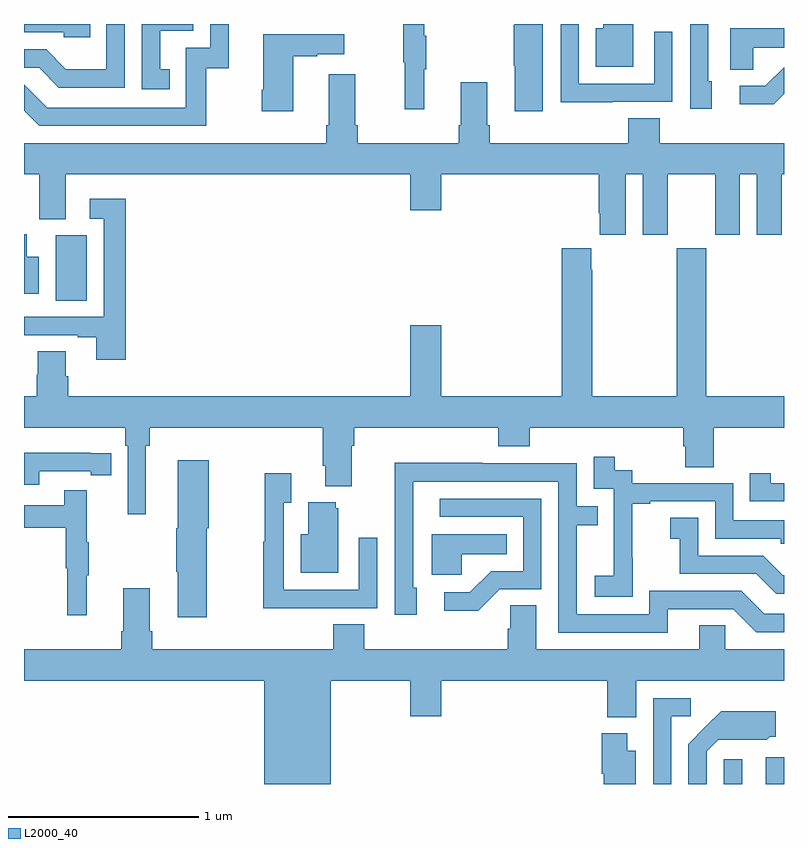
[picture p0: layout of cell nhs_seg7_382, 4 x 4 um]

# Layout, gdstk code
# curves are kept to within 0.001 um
import gdstk
lib = gdstk.Library(unit=1e-6, precision=1e-09)
def R(c, l, rs):  # rectangles x0, y0, x1, y1
    for r in rs: c.add(gdstk.rectangle(r[:2], r[2:], *l))
def P(c, l, *ps):  # polygons
    for p in ps: c.add(gdstk.Polygon(p, *l))
L2000_40 = (2000, 40)

nhs_seg7_382 = lib.new_cell('nhs_seg7_382')
R(nhs_seg7_382, L2000_40, [(142.683,1072,142.779,1072.129), (142.905,1072,143,1072.14), (139.166,1074.544,139.33,1074.888)])
P(nhs_seg7_382, L2000_40, [(139.53,1076),(139.434,1076),(139.434,1075.762),(139.22,1075.762),(139.116,1075.866),(139,1075.866),(139,1075.77),(139.079,1075.77),(139.184,1075.665),(139.53,1075.665)],
  [(141.107,1075.763),(141.118,1075.763),(141.118,1075.937),(141.107,1075.937),(141.107,1076),(140.997,1076),(140.997,1075.8),(141.004,1075.8),(141.004,1075.551),(141.107,1075.551)],
  [(142.621,1075.698),(142.602,1075.698),(142.602,1076),(142.506,1076),(142.506,1075.554),(142.621,1075.554)],
  [(139.349,1076),(139,1076),(139,1075.956),(139.209,1075.956),(139.209,1075.929),(139.349,1075.929)],
  [(142.207,1076),(142.049,1076),(142.049,1075.978),(142.01,1075.978),(142.01,1075.775),(142.207,1075.775)],
  [(142.097,1075.59),(142.413,1075.59),(142.413,1075.96),(142.317,1075.96),(142.317,1075.686),(141.921,1075.686),(141.921,1076),(141.825,1076),(141.825,1075.589),(142.097,1075.589)],
  [(139.766,1075.761),(139.717,1075.761),(139.717,1075.965),(139.89,1075.965),(139.89,1076),(139.62,1076),(139.62,1075.656),(139.766,1075.656)],
  [(141.73,1076),(141.584,1076),(141.584,1075.997),(141.577,1075.997),(141.577,1075.78),(141.584,1075.78),(141.584,1075.542),(141.73,1075.542)],
  [(139.96,1075.767),(140.078,1075.767),(140.078,1076),(139.98,1076),(139.98,1075.875),(139.851,1075.875),(139.851,1075.56),(139.122,1075.56),(139.002,1075.68),(139,1075.68),(139,1075.544),(139.08,1075.464),(139.96,1075.464)],
  [(142.839,1075.874),(143,1075.874),(143,1075.978),(142.718,1075.978),(142.718,1075.759),(142.839,1075.759)],
  [(140.416,1075.831),(140.543,1075.831),(140.543,1075.841),(140.686,1075.841),(140.686,1075.945),(140.258,1075.945),(140.258,1075.654),(140.251,1075.654),(140.251,1075.542),(140.416,1075.542)],
  [(143,1075.632),(143,1075.773),(142.901,1075.674),(142.767,1075.674),(142.767,1075.577),(142.945,1075.577)],
  [(142.025,1075.003),(142.031,1075.003),(142.031,1074.891),(142.168,1074.891),(142.168,1075.208),(142.256,1075.208),(142.256,1074.891),(142.387,1074.891),(142.387,1075.208),(142.637,1075.208),(142.637,1074.891),(142.768,1074.891),(142.768,1075.208),(142.856,1075.208),(142.856,1074.891),(142.987,1074.891),(142.987,1075.208),(143,1075.208),(143,1075.372),(142.346,1075.372),(142.346,1075.505),(142.181,1075.505),(142.181,1075.372),(141.452,1075.372),(141.452,1075.468),(141.439,1075.468),(141.439,1075.693),(141.299,1075.693),(141.299,1075.468),(141.287,1075.468),(141.287,1075.372),(140.756,1075.372),(140.756,1075.468),(140.743,1075.468),(140.743,1075.735),(140.603,1075.735),(140.603,1075.468),(140.591,1075.468),(140.591,1075.372),(139,1075.372),(139,1075.208),(139.079,1075.208),(139.079,1074.973),(139.219,1074.973),(139.219,1075.208),(141.032,1075.208),(141.032,1075.02),(141.196,1075.02),(141.196,1075.208),(142.025,1075.208)],
  [(139.535,1075.081),(139.347,1075.081),(139.347,1074.975),(139.419,1074.975),(139.419,1074.459),(139,1074.459),(139,1074.363),(139.283,1074.363),(139.283,1074.351),(139.379,1074.351),(139.379,1074.234),(139.535,1074.234)],
  [(139.078,1074.775),(139.015,1074.775),(139.015,1074.894),(139,1074.894),(139,1074.579),(139.078,1074.579)],
  [(139.642,1073.78),(139.661,1073.78),(139.661,1073.876),(140.573,1073.876),(140.573,1073.674),(140.585,1073.674),(140.585,1073.567),(140.725,1073.567),(140.725,1073.78),(140.738,1073.78),(140.738,1073.876),(141.497,1073.876),(141.497,1073.777),(141.662,1073.777),(141.662,1073.876),(142.469,1073.876),(142.469,1073.778),(142.481,1073.778),(142.481,1073.668),(142.629,1073.668),(142.629,1073.876),(143,1073.876),(143,1074.04),(142.59,1074.04),(142.59,1074.82),(142.435,1074.82),(142.435,1074.04),(141.99,1074.04),(141.99,1074.707),(141.985,1074.707),(141.985,1074.82),(141.83,1074.82),(141.83,1074.04),(141.196,1074.04),(141.196,1074.415),(141.032,1074.415),(141.032,1074.04),(139.232,1074.04),(139.232,1074.146),(139.219,1074.146),(139.219,1074.278),(139.072,1074.278),(139.072,1074.153),(139.067,1074.153),(139.067,1074.04),(139,1074.04),(139,1073.876),(139.532,1073.876),(139.532,1073.78),(139.545,1073.78),(139.545,1073.421),(139.642,1073.421)],
  [(139.08,1073.646),(139.352,1073.646),(139.352,1073.626),(139.46,1073.626),(139.46,1073.742),(139.352,1073.742),(139.352,1073.743),(139,1073.743),(139,1073.574),(139.08,1073.574)],
  [(142.203,1073.191),(142.202,1073.191),(142.202,1073.475),(142.297,1073.475),(142.297,1073.487),(142.638,1073.487),(142.638,1073.292),(142.983,1073.292),(142.983,1073.265),(143,1073.265),(143,1073.388),(142.734,1073.388),(142.734,1073.583),(142.2,1073.583),(142.2,1073.652),(142.108,1073.652),(142.108,1073.722),(141.999,1073.722),(141.999,1073.553),(142.104,1073.553),(142.104,1073.324),(142.103,1073.324),(142.103,1073.095),(142.005,1073.095),(142.005,1072.985),(142.203,1072.985)],
  [(139.962,1073.346),(139.972,1073.346),(139.972,1073.704),(139.808,1073.704),(139.808,1073.346),(139.801,1073.346),(139.801,1073.116),(139.808,1073.116),(139.808,1072.878),(139.962,1072.878)],
  [(142.387,1072.92),(142.734,1072.92),(142.854,1072.8),(143,1072.8),(143,1072.896),(142.896,1072.896),(142.776,1073.016),(142.29,1073.016),(142.29,1072.893),(141.909,1072.893),(141.909,1073.362),(142.019,1073.362),(142.019,1073.463),(141.909,1073.463),(141.909,1073.688),(141.413,1073.688),(141.413,1073.69),(140.95,1073.69),(140.95,1073.383),(140.952,1073.383),(140.952,1072.89),(141.067,1072.89),(141.067,1073.034),(141.048,1073.034),(141.049,1073.592),(141.813,1073.592),(141.813,1072.797),(142.387,1072.797)],
  [(140.543,1072.926),(140.859,1072.926),(140.859,1073.296),(140.763,1073.296),(140.763,1073.022),(140.367,1073.022),(140.367,1073.479),(140.407,1073.479),(140.407,1073.635),(140.266,1073.635),(140.266,1073.276),(140.259,1073.276),(140.259,1072.925),(140.543,1072.925)],
  [(143,1073.583),(142.93,1073.583),(142.93,1073.635),(142.819,1073.635),(142.819,1073.487),(143,1073.487)],
  [(139.331,1073.099),(139.342,1073.099),(139.342,1073.273),(139.331,1073.273),(139.331,1073.545),(139.213,1073.545),(139.213,1073.466),(139,1073.466),(139,1073.35),(139.221,1073.35),(139.221,1073.136),(139.228,1073.136),(139.228,1072.887),(139.331,1072.887)],
  [(141.504,1073.025),(141.723,1073.025),(141.723,1073.502),(141.189,1073.502),(141.189,1073.406),(141.627,1073.406),(141.627,1073.121),(141.458,1073.121),(141.347,1073.01),(141.213,1073.01),(141.213,1072.913),(141.391,1072.913)],
  [(140.653,1073.451),(140.642,1073.451),(140.642,1073.482),(140.495,1073.482),(140.495,1073.314),(140.456,1073.314),(140.456,1073.111),(140.653,1073.111)],
  [(143,1073.098),(142.994,1073.098),(142.89,1073.202),(142.548,1073.202),(142.548,1073.401),(142.401,1073.401),(142.401,1073.291),(142.45,1073.291),(142.45,1073.106),(142.853,1073.106),(142.958,1073.001),(143,1073.001)],
  [(141.303,1073.21),(141.542,1073.21),(141.542,1073.314),(141.146,1073.314),(141.146,1073.102),(141.303,1073.102)],
  [(140.614,1072.544),(141.032,1072.544),(141.032,1072.356),(141.196,1072.356),(141.196,1072.544),(142.07,1072.544),(142.07,1072.352),(142.222,1072.352),(142.222,1072.544),(143,1072.544),(143,1072.708),(142.692,1072.708),(142.692,1072.835),(142.553,1072.835),(142.553,1072.708),(141.697,1072.708),(141.697,1072.94),(141.558,1072.94),(141.558,1072.817),(141.545,1072.817),(141.545,1072.708),(140.792,1072.708),(140.792,1072.841),(140.627,1072.841),(140.627,1072.708),(139.676,1072.708),(139.676,1072.804),(139.663,1072.804),(139.663,1073.029),(139.523,1073.029),(139.523,1072.804),(139.511,1072.804),(139.511,1072.708),(139,1072.708),(139,1072.544),(140.264,1072.544),(140.264,1072),(140.614,1072)],
  [(142.407,1072.356),(142.51,1072.356),(142.51,1072.452),(142.311,1072.452),(142.311,1072),(142.407,1072)],
  [(142.593,1072.173),(142.653,1072.233),(142.91,1072.232),(142.926,1072.248),(142.957,1072.248),(142.957,1072.384),(142.669,1072.384),(142.497,1072.21),(142.497,1072),(142.593,1072)],
  [(142.219,1072.174),(142.174,1072.174),(142.174,1072.267),(142.04,1072.267),(142.04,1072.053),(142.052,1072.053),(142.052,1072),(142.219,1072)])

lib.write_gds('nhs_seg7_382.gds')
